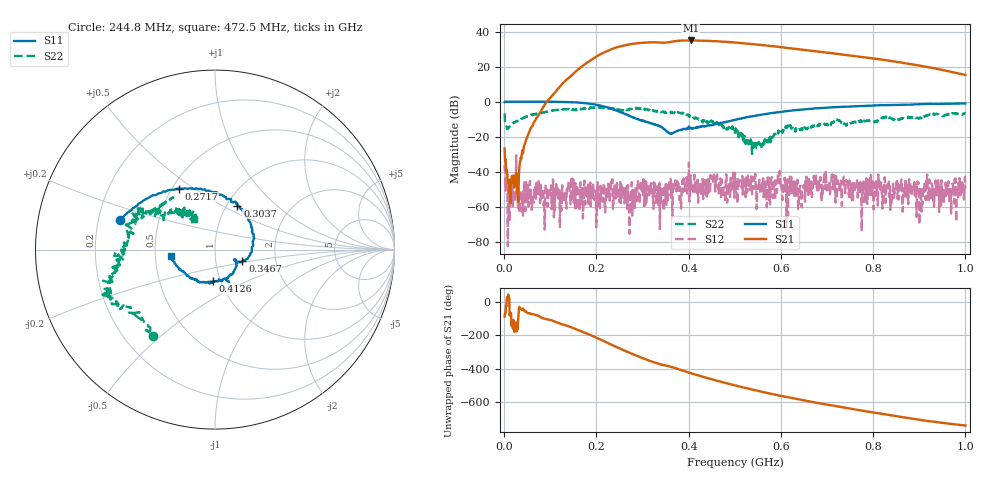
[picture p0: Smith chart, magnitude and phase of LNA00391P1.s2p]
! Created with skrf 1.9.0 (http://scikit-rf.org).
# Hz S RI R 50.0
!freq ReS11 ImS11 ReS21 ImS21 ReS12 ImS12 ReS22 ImS22
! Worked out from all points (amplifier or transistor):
!   1001 points, 1 MHz to 1 GHz, reference 50 ohm
!   highest |S21| = 35.1 dB at 404.6 MHz (marker M1)
!   |S21| within 3 dB of that: 257.6 MHz to 572 MHz (314.4 MHz wide, 75.8 % of centre)
!   unconditionally stable (mu >= 1): 26.57 MHz to 57.12 MHz; 234.8 MHz to 400.2 MHz; 400.9 MHz to end of sweep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
!   at 166.8 MHz: K = 2.27, MAG = 32.1 dB, |S12| = -57.1 dB
!   at 500.5 MHz: K = 1.21, MAG = 34.5 dB, |S12| = -40.8 dB
!   at 1 GHz: K = 3.80, MAG = 23.7 dB, |S12| = -49.5 dB
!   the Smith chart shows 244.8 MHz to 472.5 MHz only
!   S11 on the Smith chart (normalised r, x): 244.8 MHz: 0.29, +0.14; 271.7 MHz: 0.54, +0.44; 303.7 MHz: 1.12, +0.59; 346.7 MHz: 1.35, -0.18; 412.6 MHz: 0.92, -0.34; 472.5 MHz: 0.60, -0.05
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1000000  0.9726 -0.00173  9.88e-05 -0.0456  -0.0149 -0.00435  0.3362 0.3208
1.08892e8  0.5223 -0.8458  -0.8384 -1.561  -0.00276 0.00178  0.4219 -0.3817
1.67833e8  -0.2321 -0.8987  -10.11 -0.4535  -0.000485 -0.00314  0.0337 -0.6307
2.1079e8  -0.6708 -0.3629  -15.53 17.81  0.00207 -0.000571  -0.2207 -0.6517
2.44756e8  -0.5286 0.1656  1.578 36.19  -0.00467 -0.000765  -0.3439 -0.4831
2.71729e8  -0.1992 0.34  25.47 35.5  0.000164 -2.72e-05  -0.5098 -0.3099
3.03697e8  0.1248 0.2453  46.34 15.63  -0.000398 0.000945  -0.5703 -0.1797
3.34666e8  0.2061 -0.00094  48.73 -9.832  -0.00107 -0.000234  -0.527 -0.0343
3.46654e8  0.1522 -0.0642  45.91 -16.6  -0.000479 0.000581  -0.4925 0.0209
3.72628e8  0.1209 -0.0724  43.01 -33.89  -0.00329 0.000169  -0.4296 0.1758
4.04596e8  0.0404 -0.1761  21.7 -52.28  0.00138 0.00775  -0.3049 0.2127
4.12588e8  -0.0102 -0.1769  15.69 -54.02  0.00792 0.00191  -0.2861 0.1557
4.41559e8  -0.1378 -0.1559  -6.878 -54.81  0.00128 0.00354  -0.1833 0.1984
4.72528e8  -0.2476 -0.0381  -26.05 -45.26  0.00399 0.00413  -0.1189 0.1703
5.005e8  -0.2823 0.1116  -38.12 -31.59  0.0083 -0.00388  -0.08 0.1011
5.4046e8  -0.2292 0.3148  -42.98 -10.09  0.00282 -0.00169  -0.041 0.018
5.88412e8  -0.0444 0.4879  -36.4 10.72  0.00357 -0.00422  -0.0954 -0.0682
6.67333e8  0.3291 0.5372  -14.61 24.35  0.000836 -0.00167  -0.1878 -0.0546
7.53247e8  0.6329 0.3721  3.689 20.36  0.00308 -0.0011  -0.2438 -0.00341
8.34166e8  0.7888 0.1355  10.86 10.26  -0.000982 -0.00503  -0.3449 -0.0342
9.16084e8  0.8517 -0.1361  9.83 1.417  -0.00304 -0.00192  -0.3718 0.1539
1e9  0.8081 -0.3838  5.522 -1.94  -0.00328 -0.000634  -0.3742 0.2611
